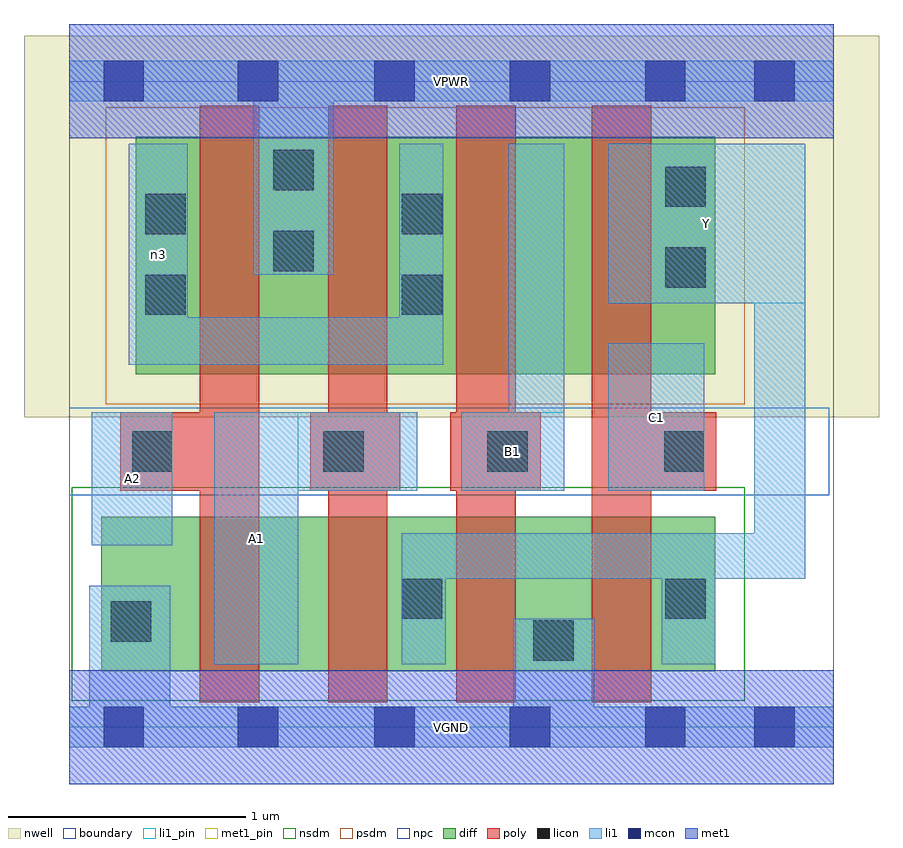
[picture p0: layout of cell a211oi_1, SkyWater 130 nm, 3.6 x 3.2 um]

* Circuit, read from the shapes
.subckt a211oi_1 A1 A2 B1 C1 VGND VPWR Y n3
XM1 n1 A2 VGND VSUBS sky130_fd_pr__nfet_01v8 w=0.65 l=0.25
XM2 Y A1 n1 VSUBS sky130_fd_pr__nfet_01v8 w=0.65 l=0.25
XM3 VGND B1 Y VSUBS sky130_fd_pr__nfet_01v8 w=0.65 l=0.25
XM4 Y C1 VGND VSUBS sky130_fd_pr__nfet_01v8 w=0.65 l=0.25
XM5 VPWR A2 n3 n2 sky130_fd_pr__pfet_01v8 w=1 l=0.25
XM6 n3 A1 VPWR n2 sky130_fd_pr__pfet_01v8 w=1 l=0.25
XM7 n4 B1 n3 n2 sky130_fd_pr__pfet_01v8 w=1 l=0.25
XM8 Y C1 n4 n2 sky130_fd_pr__pfet_01v8 w=1 l=0.25
.ends

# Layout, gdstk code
import gdstk
lib = gdstk.Library(unit=1e-6, precision=1e-09)
def R(c, l, rs):  # rectangles x0, y0, x1, y1
    for r in rs: c.add(gdstk.rectangle(r[:2], r[2:], *l))
def A(c, l, x, y, w, h, nx, ny, dx, dy):  # array of equal rectangles
    R(c, l, [(x+i*dx, y+j*dy, x+i*dx+w, y+j*dy+h) for i in range(nx) for j in range(ny)])
nwell = (64, 20)
diff = (65, 20)
poly = (66, 20)
licon = (66, 44)
li1_pin = (67, 16)
li1 = (67, 20)
mcon = (67, 44)
met1_pin = (68, 16)
met1 = (68, 20)
nsdm = (93, 44)
psdm = (94, 20)
npc = (95, 20)
boundary = (235, 4)

a211oi_1 = lib.new_cell('a211oi_1')
R(a211oi_1, nwell, [(-0.19,1.305,3.41,2.91), (0,1.305,3.22,2.91)])
R(a211oi_1, diff, [(0.135,0.235,2.72,0.885), (0.28,1.485,2.72,2.485)])
A(a211oi_1, poly, 0.55, 0.105, 0.25, 2.51, 3, 1, 0.54, 0)
R(a211oi_1, poly, [(2.2,0.105,2.45,2.615), (0.215,0.995,0.8,1.325), (1.015,0.995,1.395,1.325), (1.605,0.995,1.985,1.325), (2.2,0.995,2.725,1.325)])
R(a211oi_1, licon, [(1.955,0.28,2.125,0.45), (0.175,0.36,0.345,0.53), (1.4,0.455,1.57,0.625), (2.51,0.455,2.68,0.625), (0.265,1.075,0.435,1.245), (1.07,1.075,1.24,1.245), (1.76,1.075,1.93,1.245), (2.505,1.075,2.675,1.245), (0.32,1.735,0.49,1.905), (1.4,1.735,1.57,1.905), (2.51,1.85,2.68,2.02), (0.86,1.92,1.03,2.09), (0.32,2.075,0.49,2.245), (1.4,2.075,1.57,2.245), (2.51,2.19,2.68,2.36), (0.86,2.26,1.03,2.43)])
R(a211oi_1, li1_pin, [(0.61,0.265,0.965,1.325), (0.095,0.765,0.435,1.325), (1.65,0.995,2.085,1.325), (2.27,0.995,2.675,1.615), (2.27,1.785,3.1,2.455)])
R(a211oi_1, li1, [(0,-0.085,3.22,0.085), (0.085,-0.085,0.425,0.595), (1.87,-0.085,2.21,0.455), (0.61,0.265,0.965,1.325), (1.4,0.265,1.585,0.815), (2.495,0.265,2.72,0.815), (1.4,0.625,3.1,0.815), (2.885,0.625,3.1,2.455), (0.095,0.765,0.435,1.325), (0.61,0.995,1.465,1.325), (1.65,0.995,2.085,1.325), (1.85,0.995,2.085,2.455), (2.27,0.995,2.675,1.615), (0.25,1.525,0.5,2.455), (0.25,1.525,1.575,1.725), (1.39,1.525,1.575,2.455), (2.27,1.785,3.1,2.455), (0.775,1.905,1.115,2.805), (0,2.635,3.22,2.805)])
A(a211oi_1, mcon, 1.285, -0.085, 0.17, 0.17, 3, 2, 0.57, 2.72)
R(a211oi_1, mcon, [(0.145,-0.085,0.315,0.085), (0.71,-0.085,0.88,0.085), (2.885,-0.085,3.055,0.085), (0.145,2.635,0.315,2.805), (0.71,2.635,0.88,2.805), (2.885,2.635,3.055,2.805)])
R(a211oi_1, met1_pin, [(0,-0.24,3.22,0.24), (0,2.48,3.22,2.96)])
R(a211oi_1, met1, [(0,-0.24,3.22,0.24), (0,2.48,3.22,2.96)])
R(a211oi_1, nsdm, [(0.01,0.11,2.845,1.01)])
R(a211oi_1, psdm, [(0.155,1.36,2.845,2.61)])
R(a211oi_1, npc, [(0,0.975,3.2,1.345)])
R(a211oi_1, boundary, [(0,0,3.22,2.72)])
a211oi_1.add(gdstk.Label('A1', (0.787,0.795), layer=67, texttype=5))
a211oi_1.add(gdstk.Label('A2', (0.265,1.045), layer=67, texttype=5))
a211oi_1.add(gdstk.Label('B1', (1.867,1.16), layer=67, texttype=5))
a211oi_1.add(gdstk.Label('C1', (2.472,1.305), layer=67, texttype=5))
a211oi_1.add(gdstk.Label('Y', (2.685,2.12), layer=67, texttype=5))
a211oi_1.add(gdstk.Label('n3', (0.375,1.99), layer=67, texttype=5))
a211oi_1.add(gdstk.Label('VPWR', (1.61,2.72), layer=68, texttype=5))
a211oi_1.add(gdstk.Label('VGND', (1.61,0), layer=68, texttype=5))
a211oi_1.add(gdstk.Label('A1', (0.787,0.795), layer=67, texttype=16))
a211oi_1.add(gdstk.Label('A2', (0.265,1.045), layer=67, texttype=16))
a211oi_1.add(gdstk.Label('B1', (1.867,1.16), layer=67, texttype=16))
a211oi_1.add(gdstk.Label('C1', (2.472,1.305), layer=67, texttype=16))
a211oi_1.add(gdstk.Label('Y', (2.685,2.12), layer=67, texttype=16))
a211oi_1.add(gdstk.Label('VPWR', (1.61,2.72), layer=68, texttype=16))
a211oi_1.add(gdstk.Label('VGND', (1.61,0), layer=68, texttype=16))

lib.write_gds('a211oi_1.gds')
